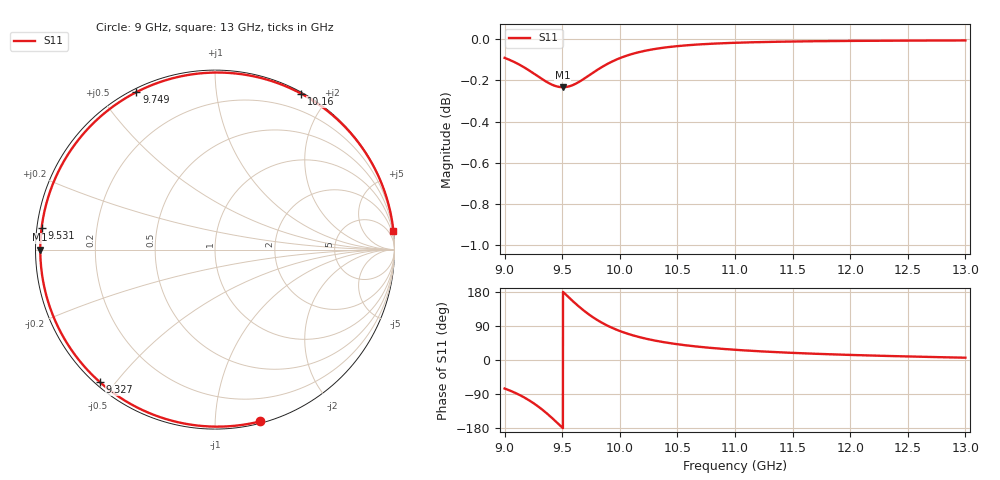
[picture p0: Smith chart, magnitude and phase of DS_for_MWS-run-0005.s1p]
! TOUCHSTONE file generated by CST DESIGN STUDIO
! Date and time: Tue Feb  4 13:01:00 2025
! Project name: C:\Work\MatlabApps\UnitCellOptimizationMatlab\CST\unitcell.cst
! Tree item: Tasks\Sweep1\SPara1\S-Parameters
! Header version: 2024
! Port assignment regex: !\s*Touchstone port\s*([0-9]+)\s*=\s*(CST MWS port|CST DES external port|CST DES block port)\s*(.+)\s* \(\"(.*)\"\)(\s*mode\s*([0-9]+))?.*
! Touchstone port assignment:
! Touchstone port 1 = CST DES external port 1 ("")
# GHz S MA R 50
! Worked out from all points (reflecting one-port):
!   4001 points, 9 GHz to 13 GHz, reference 50 ohm
!   lowest |S11| = -0.2 dB at 9.506 GHz (marker M1), VSWR 74.58, Z = 0.67 - j0.0201 ohm
!   phase of S11 starts at -75 deg and turns -279 deg over the sweep
!   S11 on the Smith chart (normalised r, x): 9 GHz: 0.01, -1.30; 9.327 GHz: 0.01, -0.46; 9.531 GHz: 0.01, +0.06; 9.749 GHz: 0.01, +0.62; 10.16 GHz: 0.01, +1.70; 13 GHz: 0, +19
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9  0.9897 -75.2
9.087  0.9873 -86.0
9.189  0.9837 -102.1
9.261  0.9807 -116.1
9.327  0.9779 -131.0
9.374  0.9761 -142.9
9.422  0.9746 -155.9
9.462  0.9739 -167.2
9.5  0.9735 -178.2
9.506  0.9735 -180.0
9.531  0.9736 172.8
9.585  0.9745 157.3
9.645  0.9764 141.1
9.696  0.9784 128.4
9.749  0.9807 116.5
9.801  0.9829 106.1
9.858  0.9851 96.1
9.929  0.9875 85.4
10  0.9895 76.5
10.162  0.9928 61.0
10.316  0.9947 50.6
10.5  0.9962 41.6
10.722  0.9973 33.9
11  0.9981 27.0
11.5  0.9988 18.8
12  0.9991 13.4
12.5  0.9993 9.3
13  0.9994 6.1
